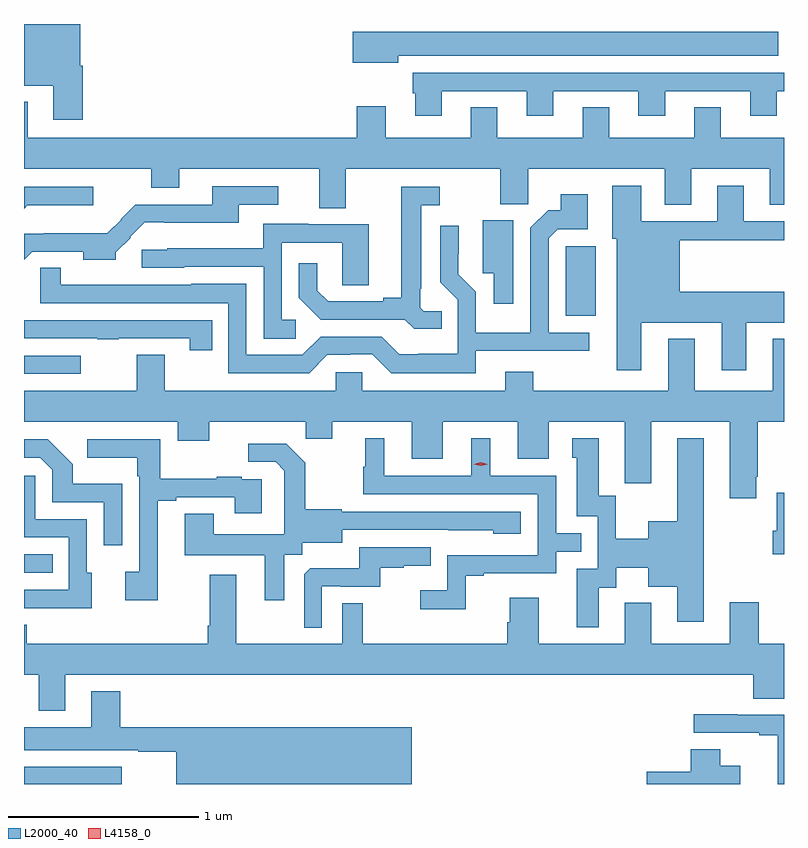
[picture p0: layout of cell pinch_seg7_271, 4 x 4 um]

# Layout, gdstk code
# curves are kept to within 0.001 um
import gdstk
lib = gdstk.Library(unit=1e-6, precision=1e-09)
def R(c, l, rs):  # rectangles x0, y0, x1, y1
    for r in rs: c.add(gdstk.rectangle(r[:2], r[2:], *l))
def P(c, l, *ps):  # polygons
    for p in ps: c.add(gdstk.Polygon(p, *l))
L2000_40 = (2000, 40)
L4158_0 = (4158, 0)

pinch_seg7_271 = lib.new_cell('pinch_seg7_271')
R(pinch_seg7_271, L2000_40, [(625.151,1026.682,625.666,1026.772), (625.151,1027.794,625.301,1027.89), (625.151,1028.841,625.45,1028.937), (628.001,1029.146,628.159,1029.513)])
P(pinch_seg7_271, L2000_40, [(625.46,1030.462),(625.447,1030.462),(625.447,1030.682),(625.151,1030.682),(625.151,1030.358),(625.304,1030.358),(625.304,1030.179),(625.46,1030.179)],
  [(627.121,1030.514),(629.122,1030.514),(629.122,1030.642),(626.882,1030.642),(626.882,1030.478),(627.121,1030.478)],
  [(627.349,1030.329),(627.797,1030.329),(627.797,1030.2),(627.937,1030.2),(627.937,1030.329),(628.385,1030.329),(628.385,1030.2),(628.525,1030.2),(628.525,1030.329),(628.973,1030.329),(628.973,1030.2),(629.113,1030.2),(629.113,1030.329),(629.151,1030.329),(629.151,1030.425),(627.197,1030.425),(627.197,1030.317),(627.209,1030.317),(627.209,1030.2),(627.349,1030.2)],
  [(627.643,1030.244),(627.503,1030.244),(627.503,1030.084),(627.055,1030.084),(627.055,1030.249),(626.903,1030.249),(626.903,1030.084),(625.171,1030.084),(625.171,1030.273),(625.151,1030.273),(625.151,1029.92),(625.822,1029.92),(625.822,1029.821),(625.969,1029.821),(625.969,1029.92),(626.705,1029.92),(626.705,1029.712),(626.845,1029.712),(626.845,1029.92),(627.658,1029.92),(627.658,1029.733),(627.804,1029.733),(627.804,1029.92),(628.523,1029.92),(628.523,1029.73),(628.663,1029.73),(628.663,1029.92),(629.075,1029.92),(629.075,1029.73),(629.151,1029.73),(629.151,1030.084),(628.819,1030.084),(628.819,1030.244),(628.679,1030.244),(628.679,1030.084),(628.231,1030.084),(628.231,1030.244),(628.091,1030.244),(628.091,1030.084),(627.643,1030.084)],
  [(628.399,1029.11),(628.823,1029.11),(628.823,1028.859),(628.951,1028.859),(628.951,1029.11),(629.151,1029.11),(629.151,1029.274),(628.603,1029.274),(628.603,1029.544),(629.151,1029.544),(629.151,1029.645),(628.939,1029.645),(628.939,1029.832),(628.799,1029.832),(628.799,1029.645),(628.399,1029.645),(628.399,1029.832),(628.247,1029.832),(628.247,1029.552),(628.271,1029.552),(628.271,1028.859),(628.399,1028.859)],
  [(625.634,1029.48),(625.713,1029.558),(625.71,1029.561),(625.787,1029.638),(625.888,1029.638),(625.888,1029.635),(626.281,1029.635),(626.281,1029.732),(626.488,1029.732),(626.488,1029.828),(626.141,1029.828),(626.141,1029.732),(625.737,1029.732),(625.661,1029.655),(625.663,1029.653),(625.589,1029.58),(625.255,1029.58),(625.255,1029.578),(625.151,1029.578),(625.151,1029.44),(625.194,1029.483),(625.463,1029.483),(625.463,1029.44),(625.634,1029.44)],
  [(625.169,1029.728),(625.516,1029.728),(625.516,1029.825),(625.151,1029.825),(625.151,1029.71)],
  [(627.35,1029.171),(627.255,1029.171),(627.237,1029.189),(627.237,1029.289),(627.241,1029.289),(627.241,1029.729),(627.34,1029.729),(627.34,1029.825),(627.137,1029.825),(627.137,1029.242),(627.041,1029.242),(627.041,1029.222),(626.752,1029.222),(626.695,1029.279),(626.695,1029.424),(626.598,1029.424),(626.598,1029.242),(626.714,1029.126),(627.156,1029.126),(627.204,1029.079),(627.35,1029.079)],
  [(627.529,1028.961),(628.126,1028.961),(628.126,1029.057),(627.912,1029.057),(627.912,1029.555),(627.96,1029.603),(628.117,1029.603),(628.117,1029.787),(627.977,1029.787),(627.977,1029.702),(627.909,1029.702),(627.816,1029.609),(627.816,1029.058),(627.528,1029.058),(627.528,1029.274),(627.437,1029.366),(627.438,1029.619),(627.342,1029.619),(627.342,1029.324),(627.435,1029.231),(627.435,1028.947),(627.226,1028.947),(627.226,1028.943),(627.126,1028.943),(627.033,1029.036),(626.712,1029.036),(626.616,1028.94),(626.322,1028.94),(626.322,1029.316),(626.031,1029.316),(626.031,1029.309),(625.345,1029.31),(625.345,1029.398),(625.236,1029.398),(625.236,1029.213),(626.226,1029.213),(626.226,1028.844),(626.652,1028.844),(626.748,1028.94),(626.868,1028.94),(626.868,1028.943),(626.985,1028.943),(627.085,1028.843),(627.529,1028.843)],
  [(627.727,1029.648),(627.566,1029.648),(627.566,1029.369),(627.623,1029.369),(627.623,1029.21),(627.727,1029.21)],
  [(626.581,1029.126),(626.508,1029.126),(626.508,1029.531),(626.826,1029.531),(626.826,1029.307),(626.965,1029.307),(626.965,1029.627),(626.647,1029.627),(626.647,1029.631),(626.411,1029.631),(626.411,1029.502),(625.905,1029.502),(625.905,1029.495),(625.77,1029.495),(625.77,1029.399),(625.995,1029.399),(625.995,1029.405),(626.412,1029.405),(626.412,1029.025),(626.581,1029.025)],
  [(626.141,1029.123),(625.151,1029.123),(625.151,1029.027),(625.537,1029.027),(625.537,1029.022),(625.649,1029.022),(625.649,1029.027),(626.023,1029.027),(626.023,1028.964),(626.141,1028.964)],
  [(629.005,1028.299),(629.013,1028.299),(629.013,1028.588),(629.151,1028.588),(629.151,1029.025),(629.093,1029.025),(629.093,1028.752),(628.681,1028.752),(628.681,1029.025),(628.541,1029.025),(628.541,1028.752),(627.831,1028.752),(627.831,1028.851),(627.683,1028.851),(627.683,1028.752),(626.931,1028.752),(626.931,1028.85),(626.793,1028.85),(626.793,1028.752),(625.893,1028.752),(625.893,1028.942),(625.745,1028.942),(625.745,1028.752),(625.151,1028.752),(625.151,1028.588),(625.961,1028.588),(625.961,1028.489),(626.125,1028.489),(626.125,1028.588),(626.635,1028.588),(626.635,1028.498),(626.773,1028.498),(626.773,1028.588),(627.191,1028.588),(627.191,1028.394),(627.355,1028.394),(627.355,1028.588),(627.749,1028.588),(627.749,1028.394),(627.913,1028.394),(627.913,1028.588),(628.313,1028.588),(628.313,1028.377),(628.314,1028.377),(628.314,1028.265),(628.453,1028.265),(628.453,1028.588),(628.865,1028.588),(628.865,1028.187),(629.005,1028.187)],
  [(628.177,1027.714),(628.267,1027.714),(628.267,1027.82),(628.436,1027.82),(628.436,1027.721),(628.589,1027.721),(628.589,1027.536),(628.729,1027.536),(628.729,1028.503),(628.589,1028.503),(628.589,1028.065),(628.436,1028.065),(628.436,1027.972),(628.266,1027.972),(628.266,1028.199),(628.177,1028.199),(628.177,1028.503),(628.037,1028.503),(628.037,1028.4),(628.061,1028.4),(628.061,1028.091),(628.17,1028.091),(628.17,1027.815),(628.061,1027.815),(628.061,1027.506),(628.177,1027.506)],
  [(627.477,1027.779),(627.571,1027.779),(627.571,1027.791),(627.951,1027.791),(627.951,1027.905),(628.085,1027.905),(628.085,1028.001),(627.951,1028.001),(627.951,1028.304),(627.604,1028.304),(627.604,1028.503),(627.506,1028.503),(627.506,1028.304),(627.046,1028.304),(627.046,1028.503),(626.948,1028.503),(626.948,1028.352),(626.937,1028.352),(626.937,1028.208),(627.855,1028.208),(627.855,1027.887),(627.378,1027.887),(627.378,1027.702),(627.237,1027.702),(627.237,1027.603),(627.477,1027.603)],
  [(625.855,1028.172),(625.951,1028.172),(625.951,1028.19),(626.261,1028.19),(626.261,1028.106),(626.401,1028.106),(626.401,1028.286),(626.297,1028.286),(626.297,1028.299),(626.165,1028.299),(626.165,1028.288),(625.867,1028.288),(625.867,1028.496),(625.485,1028.496),(625.485,1028.399),(625.746,1028.399),(625.746,1028.303),(625.758,1028.303),(625.758,1027.798),(625.683,1027.798),(625.683,1027.65),(625.855,1027.65)],
  [(625.668,1028.263),(625.407,1028.263),(625.407,1028.366),(625.276,1028.496),(625.151,1028.496),(625.151,1028.4),(625.236,1028.4),(625.299,1028.337),(625.299,1028.166),(625.572,1028.166),(625.572,1027.938),(625.668,1027.938)],
  [(626.521,1027.888),(626.616,1027.888),(626.616,1027.952),(626.827,1027.952),(626.827,1028.019),(627.621,1028.018),(627.621,1028),(627.766,1028),(627.766,1028.115),(626.823,1028.115),(626.823,1028.128),(626.631,1028.128),(626.631,1028.373),(626.531,1028.473),(626.331,1028.473),(626.331,1028.379),(626.475,1028.379),(626.522,1028.332),(626.522,1028.237),(626.52,1028.237),(626.52,1027.996),(626.149,1027.996),(626.149,1028.105),(625.997,1028.105),(625.997,1027.886),(626.417,1027.886),(626.417,1027.65),(626.521,1027.65)],
  [(625.507,1027.794),(625.482,1027.794),(625.482,1028.076),(625.209,1028.076),(625.209,1028.305),(625.151,1028.305),(625.151,1027.98),(625.386,1027.98),(625.386,1027.704),(625.151,1027.704),(625.151,1027.608),(625.289,1027.608),(625.289,1027.607),(625.507,1027.607)],
  [(629.151,1028.215),(629.114,1028.215),(629.114,1028.016),(629.092,1028.016),(629.092,1027.891),(629.151,1027.891)],
  [(626.718,1027.722),(626.818,1027.722),(626.818,1027.719),(627.026,1027.719),(627.026,1027.821),(627.149,1027.821),(627.149,1027.832),(627.293,1027.832),(627.293,1027.929),(626.916,1027.929),(626.916,1027.817),(626.657,1027.817),(626.625,1027.785),(626.625,1027.505),(626.718,1027.505)],
  [(625.369,1027.256),(628.988,1027.256),(628.988,1027.132),(629.151,1027.132),(629.151,1027.42),(629.018,1027.42),(629.018,1027.639),(628.865,1027.639),(628.865,1027.42),(628.453,1027.42),(628.453,1027.636),(628.313,1027.636),(628.313,1027.42),(627.859,1027.42),(627.859,1027.663),(627.707,1027.663),(627.707,1027.533),(627.695,1027.533),(627.695,1027.42),(626.935,1027.42),(626.935,1027.634),(626.826,1027.634),(626.826,1027.42),(626.269,1027.42),(626.269,1027.783),(626.129,1027.783),(626.129,1027.516),(626.117,1027.516),(626.117,1027.42),(625.165,1027.42),(625.165,1027.519),(625.151,1027.519),(625.151,1027.256),(625.229,1027.256),(625.229,1027.067),(625.369,1027.067)],
  [(627.193,1026.982),(625.658,1026.982),(625.658,1027.171),(625.505,1027.171),(625.505,1026.982),(625.151,1026.982),(625.151,1026.86),(625.753,1026.86),(625.753,1026.853),(625.952,1026.853),(625.952,1026.682),(627.193,1026.682)],
  [(629.151,1027.047),(628.904,1027.047),(628.904,1027.049),(628.677,1027.049),(628.677,1026.951),(629.021,1026.951),(629.021,1026.939),(629.117,1026.939),(629.117,1026.682),(629.151,1026.682)],
  [(628.921,1026.778),(628.815,1026.778),(628.815,1026.866),(628.661,1026.866),(628.661,1026.746),(628.428,1026.746),(628.428,1026.682),(628.921,1026.682)])
P(pinch_seg7_271, L4158_0, [(627.555,1028.356),(627.519,1028.366),(627.519,1028.366),(627.519,1028.366),(627.555,1028.376),(627.591,1028.366),(627.591,1028.366),(627.591,1028.366)])

lib.write_gds('pinch_seg7_271.gds')
